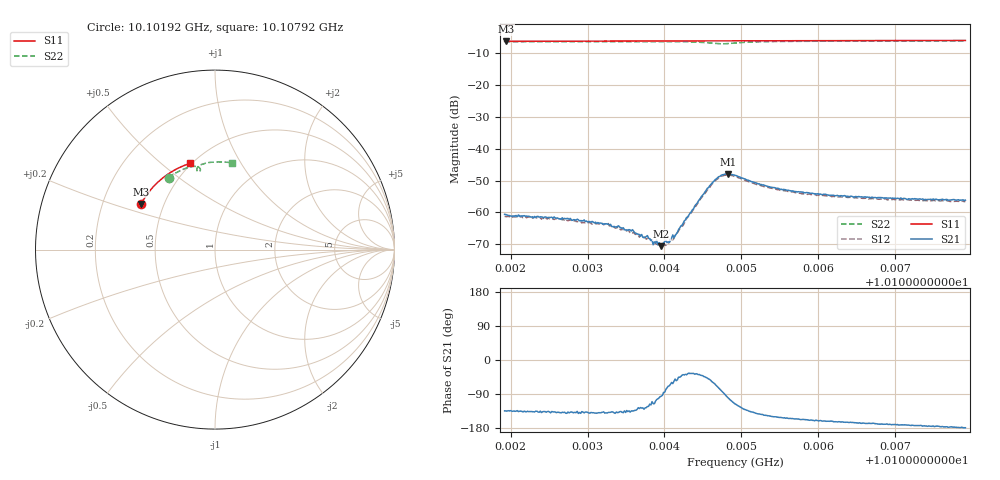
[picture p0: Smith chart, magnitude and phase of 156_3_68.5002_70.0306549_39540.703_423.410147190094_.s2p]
#  HZ  S  RI  R  50.00
! Rohde & Schwarz Vector Network Analyzer
! Rohde-Schwarz,ZNB20-2Port,1311601062101988,3.16
! Created: UTC 3/20/2024, 4:55:36 PM
! freq[Hz]  re:S11  im:S11  re:S21  im:S21  re:S12  im:S12  re:S22  im:S22
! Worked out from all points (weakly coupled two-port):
!   401 points, 10.10192 GHz to 10.10792 GHz, reference 50 ohm
!   highest |S21| = -47.92 dB at 10.10483 GHz (marker M1); lowest = -70.6 dB at 10.10396 GHz (marker M2)
!   lowest |S11| = -6.3 dB at 10.10194 GHz (marker M3), VSWR 2.88, Z = 18.6 + j12.4 ohm
!   |S11| at or under -10 dB: nowhere
!   |S22| runs from -7.1 to -6.2 dB; largest |S21 - S12| = 0.0004
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1.0101921e10  -0.4131 0.2542  -0.000651 -0.00067  -0.000547 -0.000673  -0.2589 0.4012
1.0101936e10  -0.4126 0.255  -0.00065 -0.000665  -0.000532 -0.000682  -0.2582 0.4017
1.0102461e10  -0.3963 0.2825  -0.000628 -0.000569  -0.000549 -0.000593  -0.2294 0.4203
1.0102925e10  -0.3803 0.3059  -0.000537 -0.000514  -0.000476 -0.000493  -0.2027 0.4353
1.0103255e10  -0.3683 0.3219  -0.000507 -0.000425  -0.000427 -0.000461  -0.1827 0.4449
1.010357e10  -0.3559 0.3366  -0.000356 -0.000366  -0.000289 -0.000386  -0.1624 0.4531
1.0103719e10  -0.35 0.3435  -0.000242 -0.000328  -0.000213 -0.000357  -0.1524 0.4566
1.0103794e10  -0.3469 0.3467  -0.00021 -0.000332  -0.000166 -0.000333  -0.1473 0.4582
1.0103854e10  -0.3444 0.3494  -0.000132 -0.000281  -0.000128 -0.000313  -0.143 0.4595
1.0103929e10  -0.3414 0.3528  -6.06e-05 -0.000331  -4.33e-05 -0.000309  -0.1376 0.4609
1.0103959e10  -0.3401 0.3542  -2.87e-05 -0.000294  6.81e-06 -0.000311  -0.1353 0.4614
1.0104034e10  -0.337 0.3575  9.72e-05 -0.000322  0.000108 -0.00031  -0.1296 0.4625
1.0104154e10  -0.3318 0.3625  0.000266 -0.000376  0.000314 -0.000324  -0.12 0.464
1.0104469e10  -0.3181 0.3758  0.00128 -0.00107  0.00134 -0.000922  -0.0911 0.4594
1.0104648e10  -0.31 0.3829  0.00149 -0.00278  0.00166 -0.00254  -0.0814 0.4426
1.0104738e10  -0.3058 0.3865  0.000636 -0.00378  0.000937 -0.00356  -0.0876 0.4346
1.0104828e10  -0.3019 0.39  -0.000681 -0.00396  -0.000328 -0.00385  -0.0972 0.4365
1.0104918e10  -0.2977 0.3935  -0.00166 -0.00346  -0.00128 -0.00343  -0.1014 0.4455
1.0105368e10  -0.2763 0.4103  -0.00214 -0.00134  -0.00192 -0.00149  -0.0743 0.4748
1.0105922e10  -0.2484 0.4293  -0.00187 -0.000711  -0.00172 -0.000821  -0.0346 0.4849
1.0106926e10  -0.1952 0.4586  -0.00165 -0.000298  -0.00155 -0.000436  0.0325 0.4889
1.0107915e10  -0.1396 0.4806  -0.00156 -3.52e-05  -0.00148 -0.000198  0.0961 0.4829
